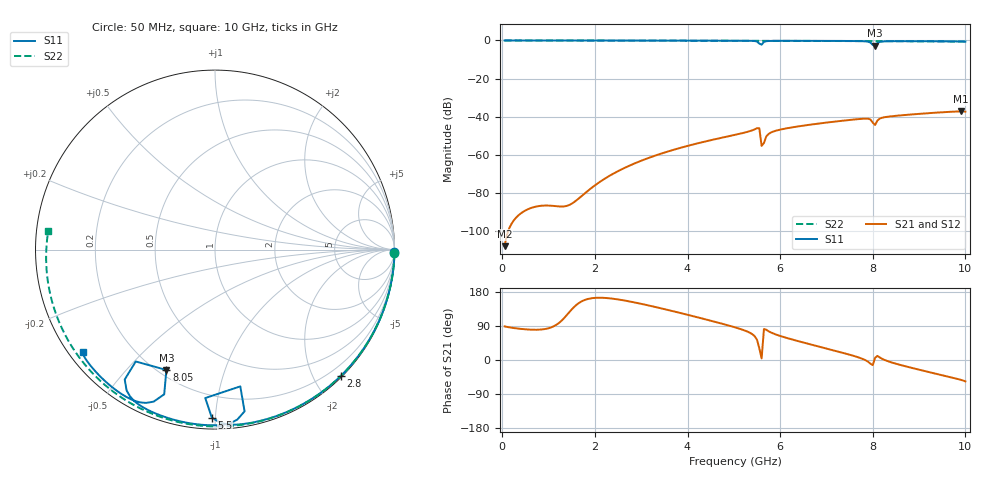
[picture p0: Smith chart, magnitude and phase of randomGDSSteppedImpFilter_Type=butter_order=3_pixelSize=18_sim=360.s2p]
! freq	dB(S11)	phase(S11)	dB(S12)	phase(S12)
!  dB(S21)	phase(S21)	dB(S22)	phase(S22)
!S-par simulation data
#  GHz  S  DB  R 50
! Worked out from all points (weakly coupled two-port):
!   200 points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, 50 MHz to 10 GHz, reference 50 ohm
!   highest |S21| = -37.18 dB at 9.9 GHz (marker M1); lowest = -107.8 dB at 50 MHz (marker M2)
!   lowest |S11| = -2.8 dB at 8.05 GHz (marker M3), VSWR 6.23, Z = 11.6 - j32.5 ohm
!   |S11| at or under -10 dB: nowhere
!   |S22| runs from -0.6 to 0.0 dB; largest |S21 - S12| = 0
!   S11 on the Smith chart (normalised r, x): 50 MHz: open; 2.8 GHz: 0.02, -2.40; 5.5 GHz: 0.06, -0.98; 8.05 GHz: 0.23, -0.65; 10 GHz: 0.04, -0.34
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0.05  -0.00 -0.8  -107.80 88.6  -107.80 88.6  -0.00 -1.1
1.75  -0.04 -28.6  -80.77 156.9  -80.77 156.9  -0.05 -37.7
2.3  -0.05 -37.3  -71.15 163.0  -71.15 163.0  -0.06 -49.1
2.8  -0.06 -45.2  -65.03 153.3  -65.03 153.3  -0.08 -59.2
3.4  -0.07 -54.4  -59.54 137.2  -59.54 137.2  -0.09 -71.0
5.05  -0.13 -79.5  -49.32 85.3  -49.32 85.3  -0.15 -101.6
5.5  -0.58 -91.1  -46.00 53.5  -46.00 53.5  -0.18 -109.6
5.55  -1.63 -93.8  -46.00 31.0  -46.00 31.0  -0.18 -110.4
5.6  -2.21 -79.5  -55.27 3.9  -55.27 3.9  -0.18 -111.3
5.65  -0.76 -79.6  -53.71 81.8  -53.71 81.8  -0.19 -112.2
5.7  -0.40 -82.5  -50.31 79.8  -50.31 79.8  -0.19 -113.0
5.8  -0.24 -85.9  -48.26 72.7  -48.26 72.7  -0.19 -114.8
6.7  -0.20 -100.5  -43.96 39.7  -43.96 39.7  -0.25 -130.1
7.7  -0.33 -115.9  -41.18 6.5  -41.18 6.5  -0.33 -146.8
7.95  -1.10 -124.8  -41.43 -9.8  -41.43 -9.8  -0.35 -151.0
8  -2.34 -125.3  -43.08 -13.6  -43.08 -13.6  -0.36 -151.8
8.05  -2.81 -112.0  -44.30 5.8  -44.30 5.8  -0.36 -152.7
8.1  -1.37 -109.3  -41.96 10.8  -41.96 10.8  -0.37 -153.5
8.15  -0.78 -112.0  -40.95 6.8  -40.95 6.8  -0.37 -154.3
8.35  -0.40 -118.4  -39.88 -4.2  -39.88 -4.2  -0.39 -157.7
9.9  -0.53 -140.8  -37.18 -52.3  -37.18 -52.3  -0.57 175.4
10  -0.60 -142.3  -37.30 -56.4  -37.30 -56.4  -0.58 173.6
